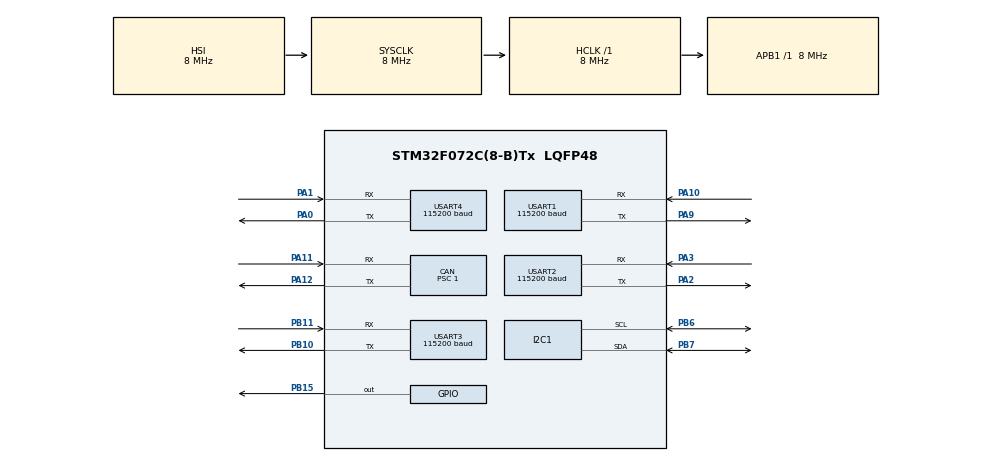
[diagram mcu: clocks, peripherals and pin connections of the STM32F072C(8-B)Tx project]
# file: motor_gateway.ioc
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CAN.BS1=CAN_BS1_13TQ
CAN.BS2=CAN_BS2_2TQ
CAN.CalculateBaudRate=500000
CAN.CalculateTimeBit=2000
CAN.CalculateTimeQuantum=125.0
CAN.Prescaler=1
I2C1.Timing=0x00201D2B
Mcu.Family=STM32F0
Mcu.Name=STM32F072C(8-B)Tx
Mcu.Package=LQFP48
NVIC.CEC_CAN_IRQn=true\:0\:0\:false\:false\:true\:true\:true\:true
NVIC.USART1_IRQn=true\:0\:0\:false\:false\:true\:true\:true\:true
NVIC.USART2_IRQn=true\:0\:0\:false\:false\:true\:true\:true\:true
NVIC.USART3_4_IRQn=true\:0\:0\:false\:false\:true\:true\:true\:true
PA0.Mode=Asynchronous
PA0.Signal=USART4_TX
PA1.Mode=Asynchronous
PA1.Signal=USART4_RX
PA10.Mode=Asynchronous
PA10.Signal=USART1_RX
PA11.Mode=CAN_Activate
PA11.Signal=CAN_RX
PA12.Mode=CAN_Activate
PA12.Signal=CAN_TX
PA13.Mode=Serial_Wire
PA13.Signal=SYS_SWDIO
PA14.Mode=Serial_Wire
PA14.Signal=SYS_SWCLK
PA2.Mode=Asynchronous
PA2.Signal=USART2_TX
PA3.Mode=Asynchronous
PA3.Signal=USART2_RX
PA9.Mode=Asynchronous
PA9.Signal=USART1_TX
PB10.Mode=Asynchronous
PB10.Signal=USART3_TX
PB11.Mode=Asynchronous
PB11.Signal=USART3_RX
PB15.Signal=GPIO_Output
PB6.GPIO_Pu=GPIO_PULLUP
PB6.Mode=I2C
PB6.Signal=I2C1_SCL
PB7.GPIO_Pu=GPIO_PULLUP
PB7.Mode=I2C
PB7.Signal=I2C1_SDA
PF0-OSC_IN.Mode=HSE-External-Oscillator
PF0-OSC_IN.Signal=RCC_OSC_IN
PF1-OSC_OUT.Mode=HSE-External-Oscillator
PF1-OSC_OUT.Signal=RCC_OSC_OUT
ProjectManager.HeapSize=0x200
ProjectManager.StackSize=0x400
ProjectManager.TargetToolchain=STM32CubeIDE
RCC.AHBFreq_Value=8000000
RCC.APB1Freq_Value=8000000
RCC.APB1TimFreq_Value=8000000
RCC.HCLKFreq_Value=8000000
RCC.PLLMUL=RCC_PLL_MUL6
RCC.SYSCLKFreq_VALUE=8000000
USART1.BaudRate=115200
USART1.VirtualMode-Asynchronous=VM_ASYNC
USART2.BaudRate=115200
USART2.VirtualMode-Asynchronous=VM_ASYNC
USART3.BaudRate=115200
USART3.VirtualMode-Asynchronous=VM_ASYNC
USART4.BaudRate=115200
USART4.VirtualMode-Asynchronous=VM_ASYNC
board=custom

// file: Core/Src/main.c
/* USER CODE BEGIN Header */
/**
 ******************************************************************************
 * @file           : main.c
 * @brief          : Main program body
 ******************************************************************************
 * @attention
 *
 * Copyright (c) 2025 STMicroelectronics.
 * All rights reserved.
 *
 * This software is licensed under terms that can be found in the LICENSE file
 * in the root directory of this software component.
 * If no LICENSE file comes with this software, it is provided AS-IS.
 *
 ******************************************************************************
 */
/* USER CODE END Header */
#include "main.h"

/* USER CODE BEGIN Includes */
#include <string.h>
#include <stdio.h>
#include "../../Adafruit_BNO055/IMU.h"
#include <stdbool.h>
// #include "../../GPS/GPS.h"
// #include "../../roboclaw/roboclaw.h"
/* USER CODE END Includes */

/* USER CODE BEGIN PD */
//-------------------- MOTORs defines -------------------------
#define pulses_per_revolution_encoder 5281
#define pulses_per_revolution_gearbox 28
#define reduction_ratio 188

#define RPM_MAX 15    // integer max RPM
#define RPM_SCALE 511 // 9-bit max value

#define CPR 212000.0   // 212000         // Quadrature-decoded counts per revolution of the motor shaft
#define GEAR_RATIO 168 // Gear reduction ratio 168:1
//-------------------------------------------------------------------------
/* USER CODE END PD */

CAN_HandleTypeDef hcan;

I2C_HandleTypeDef hi2c1;

UART_HandleTypeDef huart1;
UART_HandleTypeDef huart2;
UART_HandleTypeDef huart3;
UART_HandleTypeDef huart4;

/* USER CODE BEGIN PV */
//---------------------------  IMU Variables ------------------------------------
IMU_INFO imu;
uint8_t CAN_OrientationBuffer[8] = {0}; // 0x200
uint8_t CAN_LinearAccelBuffer[8] = {0}; // 0x201
//-----------------------------------------------------------------------------

//---------------------------  CAN Variables  --------------------------
volatile uint8_t messageReceived = 0;
CAN_RxHeaderTypeDef rxHeader;
uint8_t rxData[8];
uint8_t txData[] = {0x01, 0x02, 0xAB, 0xFF}; // Example data to send

// ==== IMU ====
char *Debug_IMU1;
char *Debug_IMU2;
uint16_t IMU_SEQ = 0;
uint32_t lastSendTime_IMU = 0;

//------------------------------------------------------------------------------

//--------------------------- MOTOR Variables -------------------------------------
uint8_t motorsSpeeds[6] = {64, 64, 64, 64, 64, 64};
//---------------------------------------------------------------------------------

//----------------------- GPS Configuration Variables -------------------------

//-----------------------------------------------------------------------------
/* USER CODE END PV */

void SystemClock_Config(void);
static void MX_GPIO_Init(void);
static void MX_I2C1_Init(void);
static void MX_USART1_UART_Init(void);
static void MX_USART2_UART_Init(void);
static void MX_USART3_UART_Init(void);
static void MX_USART4_UART_Init(void);
static void MX_CAN_Init(void);
/* USER CODE BEGIN PFP */
void can_irq(CAN_HandleTypeDef *pcan);
HAL_StatusTypeDef can_send(uint32_t id, uint8_t data[], uint8_t length);
/* USER CODE END PFP */

/* USER CODE BEGIN 0 */

//---------------------------  CAN Functions  --------------------------
void can_irq(CAN_HandleTypeDef *pcan)
{
  /* Simply receive whatever message comes in */
  if (HAL_CAN_GetRxMessage(pcan, CAN_RX_FIFO0, &rxHeader, rxData) == HAL_OK)
  {
      messageReceived = 1;
  }
}

HAL_StatusTypeDef can_send(uint32_t id, uint8_t data[], uint8_t length)
{
  CAN_TxHeaderTypeDef txHeader;
  uint32_t mailbox;

  /* Configure TX header */
  txHeader.StdId = id;
  txHeader.IDE = CAN_ID_STD;
  txHeader.RTR = CAN_RTR_DATA;
  txHeader.DLC = length;
  txHeader.TransmitGlobalTime = DISABLE;

  /* Check if mailbox is available and send */
  if (HAL_CAN_GetTxMailboxesFreeLevel(&hcan) > 0)
  {
    return HAL_CAN_AddTxMessage(&hcan, &txHeader, data, &mailbox);
  }
  return HAL_BUSY;
}
//----------------------------------------------------------------------

/* USER CODE END 0 */

int main(void)
{

  /* MCU Configuration--------------------------------------------------------*/

  /* Reset of all peripherals, Initializes the Flash interface and the Systick. */
  HAL_Init();

  /* Configure the system clock */
  SystemClock_Config();

  /* Initialize all configured peripherals */
  MX_GPIO_Init();
  MX_I2C1_Init();
  MX_USART1_UART_Init();
  MX_USART2_UART_Init();
  MX_USART3_UART_Init();
  MX_USART4_UART_Init();
  MX_CAN_Init();
  /* USER CODE BEGIN 2 */

  // ---------------------Initialize IMU-----------------------
  IMU_Setup(&hi2c1);
  //-----------------------------------------------------------
  HAL_GPIO_WritePin(GPIOB, GPIO_PIN_15, GPIO_PIN_SET); // LED off
  /* USER CODE END 2 */

  /* Infinite loop */
  while (1)
  {

    /* USER CODE BEGIN 3 */
    //------------------------  IMU Testing ------------------------------

    IMU_Operation(&imu);
    // Prepare both messages with the current sequence counter
    IMU_CANMsgSendOrientation(&imu, CAN_OrientationBuffer, IMU_SEQ);
    IMU_CANMsgSendLinearAccel(&imu, CAN_LinearAccelBuffer, IMU_SEQ);

    // Send both messages if enough time has passed
    if (HAL_GetTick() - lastSendTime_IMU > 1000)
    {
      // Wait until at least 2 mailboxes are free
      if (HAL_CAN_GetTxMailboxesFreeLevel(&hcan) >= 2)
      {
        // Send Orientation first
        if (can_send(0x200, CAN_OrientationBuffer, sizeof(CAN_OrientationBuffer)) == HAL_OK)
        {
          HAL_GPIO_TogglePin(GPIOB, GPIO_PIN_15);
          Debug_IMU1 = "Can Message Sent";
        }
        else
        {
          Debug_IMU1 = "Failed To Send";
        }

        // Send Linear Acceleration immediately after
        if (can_send(0x201, CAN_LinearAccelBuffer, sizeof(CAN_LinearAccelBuffer)) == HAL_OK)
        {
          HAL_GPIO_TogglePin(GPIOB, GPIO_PIN_15);
          Debug_IMU2 = "Can Message Sent";
        }
        else
        {
          Debug_IMU2 = "Failed To Send";
        }

        // Increment the counter and reset the timer only after both messages have been sent
        IMU_SEQ++;
        lastSendTime_IMU = HAL_GetTick();
      }
    }
    HAL_Delay(10);

    //--------------------------------------------------------------------
    //---------------------- MOTORS Testing (Velocity Control) ----------------------
    // to read the speed we use the following functions

    if (messageReceived)
    {
      HAL_GPIO_TogglePin(GPIOB, GPIO_PIN_15);
      messageReceived = 0; // Clear flag
      motorsSpeeds[0] = rxData[0];
      motorsSpeeds[1] = rxData[1];
      motorsSpeeds[2] = rxData[2];

      motorsSpeeds[3] = rxData[3];
      motorsSpeeds[4] = rxData[4];
      motorsSpeeds[5] = rxData[5];
    }

    HAL_UART_Transmit_IT(&huart4, motorsSpeeds, sizeof(motorsSpeeds));
    //----------------------------------------------------------------------------------
  }
  /* USER CODE END 3 */
}

void SystemClock_Config(void)
{
  RCC_OscInitTypeDef RCC_OscInitStruct = {0};
  RCC_ClkInitTypeDef RCC_ClkInitStruct = {0};
  RCC_PeriphCLKInitTypeDef PeriphClkInit = {0};

  /** Initializes the RCC Oscillators according to the specified parameters
   * in the RCC_OscInitTypeDef structure.
   */
  RCC_OscInitStruct.OscillatorType = RCC_OSCILLATORTYPE_HSI;
  RCC_OscInitStruct.HSIState = RCC_HSI_ON;
  RCC_OscInitStruct.HSICalibrationValue = RCC_HSICALIBRATION_DEFAULT;
  RCC_OscInitStruct.PLL.PLLState = RCC_PLL_NONE;
  if (HAL_RCC_OscConfig(&RCC_OscInitStruct) != HAL_OK)
  {
    Error_Handler();
  }

  /** Initializes the CPU, AHB and APB buses clocks
   */
  RCC_ClkInitStruct.ClockType = RCC_CLOCKTYPE_HCLK | RCC_CLOCKTYPE_SYSCLK | RCC_CLOCKTYPE_PCLK1;
  RCC_ClkInitStruct.SYSCLKSource = RCC_SYSCLKSOURCE_HSI;
  RCC_ClkInitStruct.AHBCLKDivider = RCC_SYSCLK_DIV1;
  RCC_ClkInitStruct.APB1CLKDivider = RCC_HCLK_DIV1;

  if (HAL_RCC_ClockConfig(&RCC_ClkInitStruct, FLASH_LATENCY_0) != HAL_OK)
  {
    Error_Handler();
  }
  PeriphClkInit.PeriphClockSelection = RCC_PERIPHCLK_USART1 | RCC_PERIPHCLK_USART2 | RCC_PERIPHCLK_I2C1;
  PeriphClkInit.Usart1ClockSelection = RCC_USART1CLKSOURCE_PCLK1;
  PeriphClkInit.Usart2ClockSelection = RCC_USART2CLKSOURCE_PCLK1;
  PeriphClkInit.I2c1ClockSelection = RCC_I2C1CLKSOURCE_HSI;
  if (HAL_RCCEx_PeriphCLKConfig(&PeriphClkInit) != HAL_OK)
  {
    Error_Handler();
  }
}

static void MX_CAN_Init(void)
{

  hcan.Instance = CAN;
  hcan.Init.Prescaler = 1;
  hcan.Init.Mode = CAN_MODE_NORMAL;
  hcan.Init.SyncJumpWidth = CAN_SJW_1TQ;
  hcan.Init.TimeSeg1 = CAN_BS1_13TQ;
  hcan.Init.TimeSeg2 = CAN_BS2_2TQ;
  hcan.Init.TimeTriggeredMode = DISABLE;
  hcan.Init.AutoBusOff = DISABLE;
  hcan.Init.AutoWakeUp = DISABLE;
  hcan.Init.AutoRetransmission = DISABLE;
  hcan.Init.ReceiveFifoLocked = DISABLE;
  hcan.Init.TransmitFifoPriority = DISABLE;
  if (HAL_CAN_Init(&hcan) != HAL_OK)
  {
    Error_Handler();
  }
  /* USER CODE BEGIN CAN_Init 2 */
  CAN_FilterTypeDef sf;
  // Set the filter to only accept messages with ID 0x6A5
  sf.FilterIdHigh = 0x6A5 << 5; // Left-shift to align with the 11-bit identifier field
  sf.FilterIdLow = 0x0000;

  // A mask of 0xFFE0 will check all 11 bits of the standard ID
  sf.FilterMaskIdHigh = 0xFFE0;
  sf.FilterMaskIdLow = 0x0000;
  sf.FilterFIFOAssignment = CAN_FILTER_FIFO0;
  sf.FilterBank = 0;
  sf.FilterMode = CAN_FILTERMODE_IDMASK;
  sf.FilterScale = CAN_FILTERSCALE_32BIT;
  sf.FilterActivation = CAN_FILTER_ENABLE;
  if (HAL_CAN_ConfigFilter(&hcan, &sf) != HAL_OK)
  {
    Error_Handler();
  }

  if (HAL_CAN_RegisterCallback(&hcan, HAL_CAN_RX_FIFO0_MSG_PENDING_CB_ID, can_irq) != HAL_OK)
  {
    Error_Handler();
  }

  if (HAL_CAN_Start(&hcan) != HAL_OK)
  {
    Error_Handler();
  }

  if (HAL_CAN_ActivateNotification(&hcan, CAN_IT_RX_FIFO0_MSG_PENDING) != HAL_OK)
  {
    Error_Handler();
  }

  /* Enable interrupts for CAN: FIFO0 message pending, transmit mailbox empty, error */
  __HAL_CAN_ENABLE_IT(&hcan,
                      CAN_IT_RX_FIFO0_MSG_PENDING | // RX FIFO0 message
                          CAN_IT_TX_MAILBOX_EMPTY | // Transmit mailbox empty
                          CAN_IT_ERROR_WARNING |    // Error warning
                          CAN_IT_ERROR_PASSIVE |    // Error passive
                          CAN_IT_BUSOFF |           // Bus-off
                          CAN_IT_LAST_ERROR_CODE |  // Last error code
                          CAN_IT_ERROR);            // General error

  /* Configure NVIC for CAN interrupts */
  HAL_NVIC_SetPriority(CEC_CAN_IRQn, 0, 0);
  HAL_NVIC_EnableIRQ(CEC_CAN_IRQn);
  /* USER CODE END CAN_Init 2 */
}

static void MX_I2C1_Init(void)
{

  hi2c1.Instance = I2C1;
  hi2c1.Init.Timing = 0x00201D2B;
  hi2c1.Init.OwnAddress1 = 0;
  hi2c1.Init.AddressingMode = I2C_ADDRESSINGMODE_7BIT;
  hi2c1.Init.DualAddressMode = I2C_DUALADDRESS_DISABLE;
  hi2c1.Init.OwnAddress2 = 0;
  hi2c1.Init.OwnAddress2Masks = I2C_OA2_NOMASK;
  hi2c1.Init.GeneralCallMode = I2C_GENERALCALL_DISABLE;
  hi2c1.Init.NoStretchMode = I2C_NOSTRETCH_DISABLE;
  if (HAL_I2C_Init(&hi2c1) != HAL_OK)
  {
    Error_Handler();
  }

  /** Configure Analogue filter
   */
  if (HAL_I2CEx_ConfigAnalogFilter(&hi2c1, I2C_ANALOGFILTER_ENABLE) != HAL_OK)
  {
    Error_Handler();
  }

  /** Configure Digital filter
   */
  if (HAL_I2CEx_ConfigDigitalFilter(&hi2c1, 0) != HAL_OK)
  {
    Error_Handler();
  }
}

static void MX_USART1_UART_Init(void)
{

  huart1.Instance = USART1;
  huart1.Init.BaudRate = 115200;
  huart1.Init.WordLength = UART_WORDLENGTH_8B;
  huart1.Init.StopBits = UART_STOPBITS_1;
  huart1.Init.Parity = UART_PARITY_NONE;
  huart1.Init.Mode = UART_MODE_TX_RX;
  huart1.Init.HwFlowCtl = UART_HWCONTROL_NONE;
  huart1.Init.OverSampling = UART_OVERSAMPLING_16;
  huart1.Init.OneBitSampling = UART_ONE_BIT_SAMPLE_DISABLE;
  huart1.AdvancedInit.AdvFeatureInit = UART_ADVFEATURE_NO_INIT;
  if (HAL_UART_Init(&huart1) != HAL_OK)
  {
    Error_Handler();
  }
}

static void MX_USART2_UART_Init(void)
{

  huart2.Instance = USART2;
  huart2.Init.BaudRate = 115200;
  huart2.Init.WordLength = UART_WORDLENGTH_8B;
  huart2.Init.StopBits = UART_STOPBITS_1;
  huart2.Init.Parity = UART_PARITY_NONE;
  huart2.Init.Mode = UART_MODE_TX_RX;
  huart2.Init.HwFlowCtl = UART_HWCONTROL_NONE;
  huart2.Init.OverSampling = UART_OVERSAMPLING_16;
  huart2.Init.OneBitSampling = UART_ONE_BIT_SAMPLE_DISABLE;
  huart2.AdvancedInit.AdvFeatureInit = UART_ADVFEATURE_NO_INIT;
  if (HAL_UART_Init(&huart2) != HAL_OK)
  {
    Error_Handler();
  }
}

static void MX_USART3_UART_Init(void)
{

  huart3.Instance = USART3;
  huart3.Init.BaudRate = 115200;
  huart3.Init.WordLength = UART_WORDLENGTH_8B;
  huart3.Init.StopBits = UART_STOPBITS_1;
  huart3.Init.Parity = UART_PARITY_NONE;
  huart3.Init.Mode = UART_MODE_TX_RX;
  huart3.Init.HwFlowCtl = UART_HWCONTROL_NONE;
  huart3.Init.OverSampling = UART_OVERSAMPLING_16;
  huart3.Init.OneBitSampling = UART_ONE_BIT_SAMPLE_DISABLE;
  huart3.AdvancedInit.AdvFeatureInit = UART_ADVFEATURE_NO_INIT;
  if (HAL_UART_Init(&huart3) != HAL_OK)
  {
    Error_Handler();
  }
}

static void MX_USART4_UART_Init(void)
{

  huart4.Instance = USART4;
  huart4.Init.BaudRate = 115200;
  huart4.Init.WordLength = UART_WORDLENGTH_8B;
  huart4.Init.StopBits = UART_STOPBITS_1;
  huart4.Init.Parity = UART_PARITY_NONE;
  huart4.Init.Mode = UART_MODE_TX_RX;
  huart4.Init.HwFlowCtl = UART_HWCONTROL_NONE;
  huart4.Init.OverSampling = UART_OVERSAMPLING_16;
  huart4.Init.OneBitSampling = UART_ONE_BIT_SAMPLE_DISABLE;
  huart4.AdvancedInit.AdvFeatureInit = UART_ADVFEATURE_NO_INIT;
  if (HAL_UART_Init(&huart4) != HAL_OK)
  {
    Error_Handler();
  }
}

static void MX_GPIO_Init(void)
{
  GPIO_InitTypeDef GPIO_InitStruct = {0};

  /* GPIO Ports Clock Enable */
  __HAL_RCC_GPIOF_CLK_ENABLE();
  __HAL_RCC_GPIOA_CLK_ENABLE();
  __HAL_RCC_GPIOB_CLK_ENABLE();

  /*Configure GPIO pin Output Level */
  HAL_GPIO_WritePin(GPIOB, GPIO_PIN_15, GPIO_PIN_RESET);

  /*Configure GPIO pin : PB15 */
  GPIO_InitStruct.Pin = GPIO_PIN_15;
  GPIO_InitStruct.Mode = GPIO_MODE_OUTPUT_PP;
  GPIO_InitStruct.Pull = GPIO_NOPULL;
  GPIO_InitStruct.Speed = GPIO_SPEED_FREQ_LOW;
  HAL_GPIO_Init(GPIOB, &GPIO_InitStruct);

}

void Error_Handler(void)
{
  __disable_irq();
  while (1)
  {
  }
}
